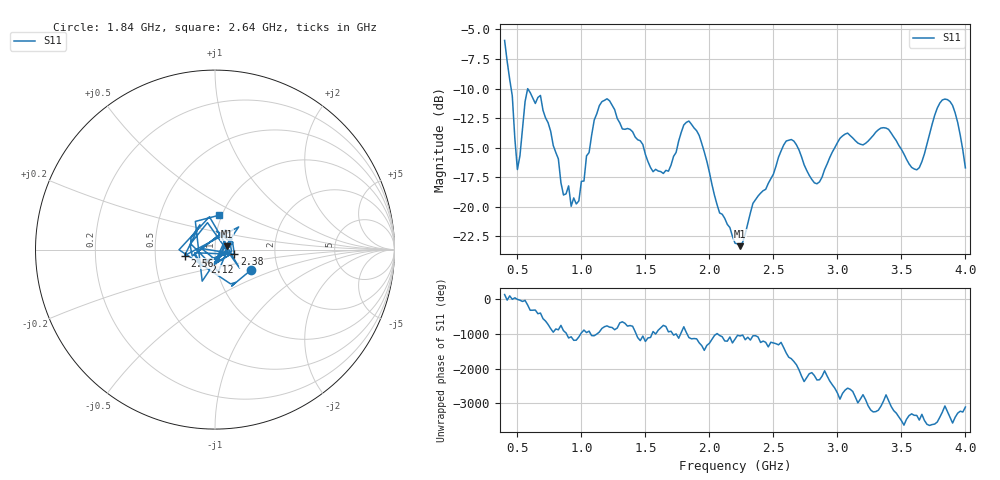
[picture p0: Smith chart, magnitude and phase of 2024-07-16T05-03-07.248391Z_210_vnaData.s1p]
!Created with skrf (http://scikit-rf.org).
# Hz S RI R 50.0
!freq ReS11 ImS11
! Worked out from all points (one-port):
!   181 points, 400 MHz to 4 GHz, reference 50 ohm
!   lowest |S11| = -23.3 dB at 2.24 GHz (marker M1), VSWR 1.15, Z = 57 + j2.13 ohm
!   |S11| at or under -10 dB: 451 MHz to end of sweep
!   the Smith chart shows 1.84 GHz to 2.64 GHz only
!   S11 on the Smith chart (normalised r, x): 1.84 GHz: 1.45, -0.35; 2.12 GHz: 0.89, -0.13; 2.38 GHz: 1.24, -0.07; 2.56 GHz: 0.71, -0.05; 2.64 GHz: 0.97, +0.39
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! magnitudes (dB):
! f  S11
! 400 MHz  -5.9
! 460 MHz  -10.6
! 500 MHz  -16.8
! 580 MHz  -10.0
! 680 MHz  -10.6
! 860 MHz  -19.0
! 980 MHz  -19.5
! 1.16 GHz  -11.1
! 1.3 GHz  -12.9
! 1.56 GHz  -17.0
! 1.68 GHz  -17.0
! 1.76 GHz  -14.4
! 1.84 GHz  -12.7
! 2.12 GHz  -21.0
! 2.2 GHz  -23.1
! 2.24 GHz  -23.3
! 2.38 GHz  -19.1
! 2.56 GHz  -15.3
! 2.64 GHz  -14.3
! 2.66 GHz  -14.4
! 2.84 GHz  -18.0
! 3.1 GHz  -14.0
! 3.38 GHz  -13.3
! 3.56 GHz  -16.4
! 3.64 GHz  -16.7
! 3.84 GHz  -10.9
! 3.92 GHz  -12.1
! 4 GHz  -16.7
